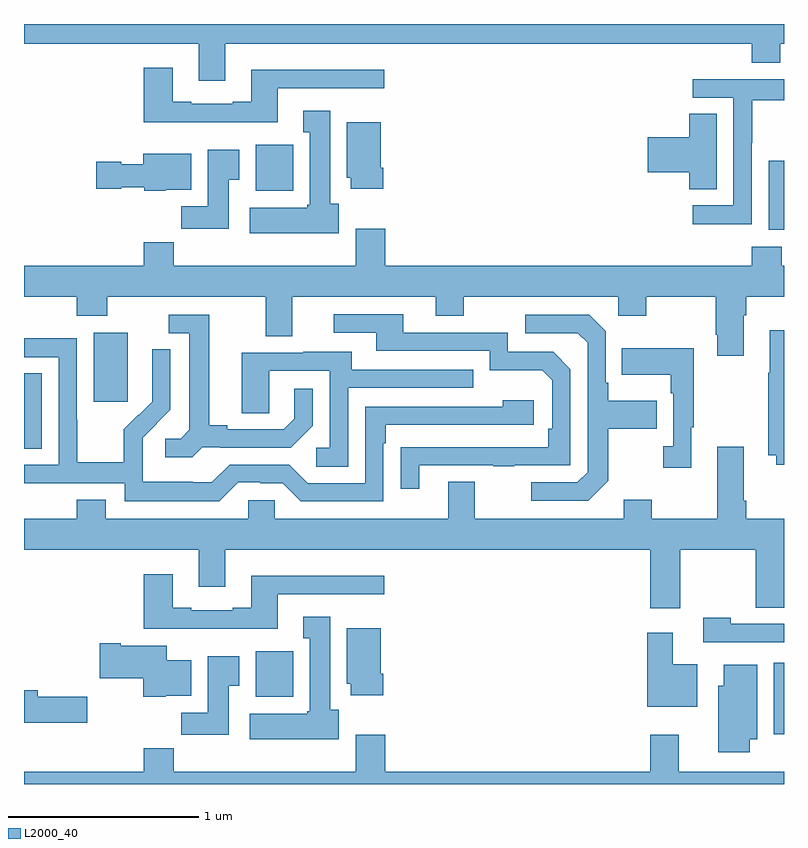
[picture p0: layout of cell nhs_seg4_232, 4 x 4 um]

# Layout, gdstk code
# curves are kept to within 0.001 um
import gdstk
lib = gdstk.Library(unit=1e-6, precision=1e-09)
def R(c, l, rs):  # rectangles x0, y0, x1, y1
    for r in rs: c.add(gdstk.rectangle(r[:2], r[2:], *l))
def P(c, l, *ps):  # polygons
    for p in ps: c.add(gdstk.Polygon(p, *l))
L2000_40 = (2000, 40)

nhs_seg4_232 = lib.new_cell('nhs_seg4_232')
R(nhs_seg4_232, L2000_40, [(124.946,817.161,125,817.537), (122.219,817.358,122.416,817.6), (121,818.665,121.093,819.062), (121.367,818.913,121.546,819.274), (124.919,819.818,125,820.179), (122.219,820.022,122.416,820.264)])
P(nhs_seg4_232, L2000_40, [(122.059,820.796),(124.829,820.796),(124.829,820.697),(124.981,820.697),(124.981,820.796),(125,820.796),(125,820.9),(121,820.9),(121,820.796),(121.919,820.796),(121.919,820.602),(122.059,820.602)],
  [(122.335,820.563),(122.896,820.563),(122.896,820.66),(122.195,820.66),(122.195,820.492),(122.099,820.492),(122.099,820.479),(121.879,820.479),(121.879,820.492),(121.783,820.492),(121.783,820.669),(121.631,820.669),(121.631,820.382),(122.335,820.382)],
  [(124.83,820.276),(124.833,820.276),(124.833,820.5),(125,820.5),(125,820.608),(124.521,820.608),(124.521,820.512),(124.734,820.512),(124.734,819.945),(124.521,819.945),(124.521,819.847),(124.83,819.847)],
  [(122.656,819.954),(122.611,819.954),(122.611,820.444),(122.471,820.444),(122.471,820.331),(122.504,820.331),(122.504,819.948),(122.491,819.948),(122.491,819.934),(122.187,819.934),(122.187,819.8),(122.656,819.8)],
  [(124.645,820.427),(124.502,820.427),(124.502,820.304),(124.284,820.304),(124.284,820.121),(124.502,820.121),(124.502,820.03),(124.645,820.03)],
  [(122.891,820.144),(122.878,820.144),(122.878,820.384),(122.699,820.384),(122.699,820.092),(122.72,820.092),(122.72,820.032),(122.891,820.032)],
  [(122.077,820.081),(122.134,820.081),(122.134,820.237),(121.967,820.237),(121.967,819.94),(121.828,819.94),(121.828,819.822),(122.077,819.822)],
  [(121.746,820.028),(121.879,820.028),(121.879,820.216),(121.628,820.216),(121.628,820.162),(121.512,820.162),(121.512,820.175),(121.38,820.175),(121.38,820.033),(121.512,820.033),(121.512,820.04),(121.632,820.04),(121.632,820.022),(121.746,820.022)],
  [(124.789,819.368),(124.802,819.368),(124.802,819.464),(125,819.464),(125,819.628),(124.989,819.628),(124.989,819.727),(124.829,819.727),(124.829,819.628),(122.9,819.628),(122.9,819.823),(122.747,819.823),(122.747,819.628),(121.787,819.628),(121.787,819.752),(121.631,819.752),(121.631,819.628),(121,819.628),(121,819.464),(121.277,819.464),(121.277,819.365),(121.437,819.365),(121.437,819.464),(122.273,819.464),(122.273,819.256),(122.413,819.256),(122.413,819.464),(123.167,819.464),(123.167,819.365),(123.315,819.365),(123.315,819.464),(124.128,819.464),(124.128,819.365),(124.275,819.365),(124.275,819.464),(124.642,819.464),(124.642,819.265),(124.649,819.265),(124.649,819.153),(124.789,819.153)],
  [(123.079,818.577),(123.469,818.577),(123.469,818.572),(123.581,818.572),(123.581,818.577),(123.876,818.577),(123.876,819.084),(123.786,819.174),(123.546,819.174),(123.546,819.276),(122.995,819.276),(122.995,819.372),(122.631,819.372),(122.631,819.276),(122.855,819.276),(122.855,819.18),(123.45,819.18),(123.45,819.077),(123.727,819.077),(123.78,819.024),(123.78,818.77),(123.76,818.77),(123.76,818.673),(122.983,818.672),(122.983,818.454),(123.079,818.454)],
  [(124.075,818.497),(124.075,818.77),(124.331,818.77),(124.331,818.917),(124.075,818.917),(124.075,819.013),(124.062,819.013),(124.062,819.282),(123.975,819.369),(123.639,819.369),(123.639,819.273),(123.915,819.273),(123.966,819.222),(123.966,818.541),(123.912,818.487),(123.669,818.487),(123.669,818.391),(123.969,818.391)],
  [(121.938,818.673),(122.032,818.673),(122.032,818.67),(122.404,818.67),(122.52,818.786),(122.52,818.98),(122.423,818.98),(122.423,818.823),(122.366,818.766),(122.071,818.766),(122.071,818.789),(121.975,818.789),(121.975,819.369),(121.761,819.369),(121.761,819.273),(121.871,819.273),(121.871,818.765),(121.824,818.718),(121.743,818.718),(121.743,818.621),(121.886,818.621)],
  [(125,819.289),(124.925,819.289),(124.925,819.065),(124.918,819.065),(124.918,818.63),(124.958,818.63),(124.958,818.579),(125,818.579)],
  [(122.127,818.487),(122.243,818.487),(122.243,818.484),(122.361,818.484),(122.457,818.388),(122.892,818.388),(122.892,818.693),(122.905,818.693),(122.905,818.79),(123.682,818.79),(123.682,818.92),(123.521,818.92),(123.521,818.886),(122.796,818.886),(122.796,818.484),(122.493,818.484),(122.397,818.58),(122.082,818.58),(121.989,818.487),(121.889,818.487),(121.889,818.491),(121.626,818.491),(121.626,818.625),(121.624,818.625),(121.624,818.722),(121.77,818.87),(121.77,819.188),(121.674,819.188),(121.674,819.034),(121.676,819.034),(121.676,818.912),(121.605,818.841),(121.602,818.844),(121.525,818.767),(121.525,818.593),(121.281,818.593),(121.281,818.816),(121.278,818.816),(121.278,819.246),(121,819.246),(121,819.147),(121.182,819.147),(121.182,818.58),(121,818.58),(121,818.484),(121.53,818.484),(121.53,818.387),(122.027,818.387)],
  [(124.513,818.777),(124.525,818.777),(124.525,819.193),(124.147,819.193),(124.147,819.053),(124.404,819.053),(124.404,818.957),(124.416,818.957),(124.416,818.678),(124.365,818.678),(124.365,818.565),(124.513,818.565)],
  [(122.706,818.985),(123.365,818.985),(123.365,819.081),(122.725,819.081),(122.725,819.175),(122.471,819.175),(122.471,819.171),(122.147,819.171),(122.147,818.851),(122.292,818.851),(122.292,819.075),(122.61,819.075),(122.61,818.67),(122.538,818.67),(122.538,818.569),(122.706,818.569)],
  [(124.455,818.132),(124.852,818.132),(124.852,817.828),(125,817.828),(125,818.296),(124.802,818.296),(124.802,818.392),(124.789,818.392),(124.789,818.674),(124.649,818.674),(124.649,818.296),(124.305,818.296),(124.305,818.395),(124.157,818.395),(124.157,818.296),(123.373,818.296),(123.373,818.491),(123.233,818.491),(123.233,818.296),(122.319,818.296),(122.319,818.394),(122.181,818.394),(122.181,818.296),(121.429,818.296),(121.429,818.395),(121.277,818.395),(121.277,818.296),(121,818.296),(121,818.132),(121.919,818.132),(121.919,817.938),(122.059,817.938),(122.059,818.132),(124.295,818.132),(124.295,817.824),(124.455,817.824)],
  [(122.335,817.899),(122.896,817.899),(122.896,817.996),(122.195,817.996),(122.195,817.828),(122.099,817.828),(122.099,817.815),(121.879,817.815),(121.879,817.828),(121.783,817.828),(121.783,818.005),(121.631,818.005),(121.631,817.718),(122.335,817.718)],
  [(122.656,817.29),(122.611,817.29),(122.611,817.78),(122.471,817.78),(122.471,817.667),(122.504,817.667),(122.504,817.284),(122.491,817.284),(122.491,817.27),(122.187,817.27),(122.187,817.136),(122.656,817.136)],
  [(125,817.743),(124.719,817.743),(124.719,817.776),(124.575,817.776),(124.575,817.647),(125,817.647)],
  [(122.891,817.48),(122.878,817.48),(122.878,817.72),(122.699,817.72),(122.699,817.428),(122.72,817.428),(122.72,817.368),(122.891,817.368)],
  [(124.543,817.531),(124.414,817.531),(124.414,817.696),(124.28,817.696),(124.28,817.307),(124.543,817.307)],
  [(121.746,817.364),(121.879,817.364),(121.879,817.552),(121.75,817.552),(121.75,817.627),(121.51,817.627),(121.51,817.64),(121.398,817.64),(121.398,817.457),(121.628,817.457),(121.628,817.358),(121.746,817.358)],
  [(122.077,817.417),(122.134,817.417),(122.134,817.573),(121.967,817.573),(121.967,817.276),(121.828,817.276),(121.828,817.158),(122.077,817.158)],
  [(124.821,817.136),(124.858,817.136),(124.858,817.528),(124.682,817.528),(124.682,817.416),(124.655,817.416),(124.655,817.068),(124.821,817.068)],
  [(121.333,817.358),(121.072,817.358),(121.072,817.394),(121,817.394),(121,817.223),(121.333,817.223)],
  [(125,816.964),(124.447,816.964),(124.447,817.159),(124.295,817.159),(124.295,816.964),(122.9,816.964),(122.9,817.159),(122.747,817.159),(122.747,816.964),(121.787,816.964),(121.787,817.088),(121.631,817.088),(121.631,816.964),(121,816.964),(121,816.9),(125,816.9)])

lib.write_gds('nhs_seg4_232.gds')
